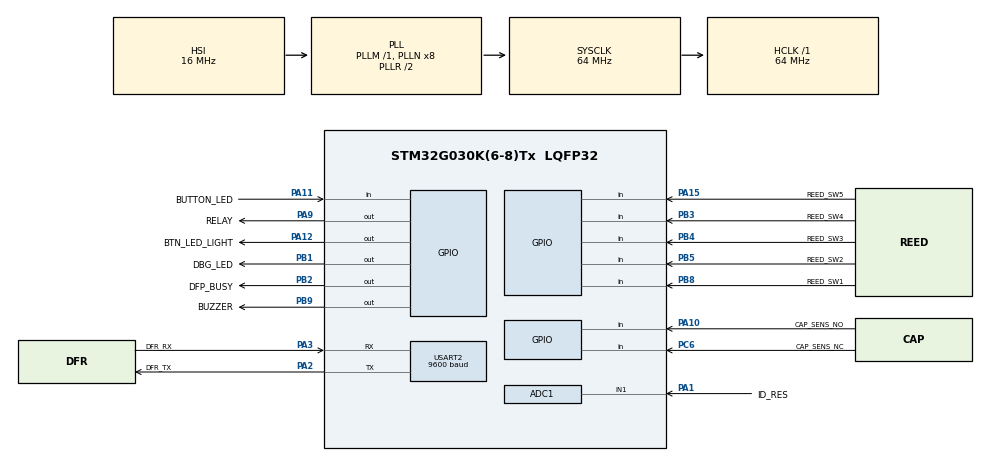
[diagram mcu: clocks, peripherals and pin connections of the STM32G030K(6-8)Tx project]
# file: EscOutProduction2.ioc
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ADC1.Channel-0\#ChannelRegularConversion=ADC_CHANNEL_1
ADC1.NbrOfConversionFlag=1
ADC1.Rank-0\#ChannelRegularConversion=1
ADC1.SamplingTime-0\#ChannelRegularConversion=ADC_SAMPLINGTIME_COMMON_1
ADC1.SamplingTimeCommon1=ADC_SAMPLETIME_160CYCLES_5
ADC1.SelectedChannel=ADC_CHANNEL_1
ADC1.master=1
IWDG.Prescaler=IWDG_PRESCALER_16
Mcu.Family=STM32G0
Mcu.Name=STM32G030K(6-8)Tx
Mcu.Package=LQFP32
NVIC.TIM1_BRK_UP_TRG_COM_IRQn=true\:0\:0\:false\:false\:true\:true\:true\:true
PA1.GPIO_Label=ID_RES
PA1.Mode=IN1
PA1.Signal=ADC1_IN1
PA10.GPIO_Label=CAP_SENS_NO
PA10.Signal=GPIO_Input
PA11\ [PA9].GPIO_Label=BUTTON_LED
PA11\ [PA9].Signal=GPIO_Input
PA12\ [PA10].GPIO_Label=BTN_LED_LIGHT
PA12\ [PA10].Signal=GPIO_Output
PA13.Mode=Serial_Wire
PA13.Signal=SYS_SWDIO
PA14-BOOT0.Mode=Serial_Wire
PA14-BOOT0.Signal=SYS_SWCLK
PA15.GPIO_Label=REED_SW5
PA15.Signal=GPIO_Input
PA2.GPIO_Label=DFR_TX
PA2.Mode=Asynchronous
PA2.Signal=USART2_TX
PA3.GPIO_Label=DFR_RX
PA3.Mode=Asynchronous
PA3.Signal=USART2_RX
PA9.GPIO_Label=RELAY
PA9.Signal=GPIO_Output
PB1.GPIO_Label=DBG_LED
PB1.Signal=GPIO_Output
PB2.GPIO_Label=DFP_BUSY
PB2.Signal=GPIO_Output
PB3.GPIO_Label=REED_SW4
PB3.Signal=GPIO_Input
PB4.GPIO_Label=REED_SW3
PB4.Signal=GPIO_Input
PB5.GPIO_Label=REED_SW2
PB5.Signal=GPIO_Input
PB8.GPIO_Label=REED_SW1
PB8.Signal=GPIO_Input
PB9.GPIO_FM9=SYSCFG_FASTMODEPLUS_PB9
PB9.GPIO_Label=BUZZER
PB9.GPIO_Speed=GPIO_SPEED_FREQ_VERY_HIGH
PB9.Signal=GPIO_Output
PC6.GPIO_Label=CAP_SENS_NC
PC6.Signal=GPIO_Input
ProjectManager.HeapSize=0x200
ProjectManager.StackSize=0x400
ProjectManager.TargetToolchain=STM32CubeIDE
RCC.ADCFreq_Value=64000000
RCC.AHBFreq_Value=64000000
RCC.CortexFreq_Value=64000000
RCC.EXTERNAL_CLOCK_VALUE=12288000
RCC.HCLKFreq_Value=64000000
RCC.HSE_VALUE=8000000
RCC.HSI_VALUE=16000000
RCC.LSE_VALUE=32768
RCC.SYSCLKFreq_VALUE=64000000
RCC.SYSCLKSource=RCC_SYSCLKSOURCE_PLLCLK
RCC.VCOOutputFreq_Value=128000000
TIM1.Period=86
TIM1.Prescaler=152
USART2.BaudRate=9600
USART2.VirtualMode-Asynchronous=VM_ASYNC
VP_IWDG_VS_IWDG.Mode=IWDG_Activate
VP_TIM17_VS_ClockSourceINT.Mode=Enable_Timer
VP_TIM1_VS_ClockSourceINT.Mode=Internal
board=custom

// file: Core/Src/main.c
/* USER CODE BEGIN Header */
/**
  ******************************************************************************
  * @file           : main.c
  * @brief          : Main program body
  ******************************************************************************
  * @attention
  *
  * Copyright (c) 2023 STMicroelectronics.
  * All rights reserved.
  *
  * This software is licensed under terms that can be found in the LICENSE file
  * in the root directory of this software component.
  * If no LICENSE file comes with this software, it is provided AS-IS.
  *
  ******************************************************************************
  */
/* USER CODE END Header */
#include "main.h"
#include "adc.h"
#include "iwdg.h"
#include "tim.h"
#include "usart.h"
#include "gpio.h"

/* USER CODE BEGIN Includes */
#include "application/door.h"
#include "application/button_game.h"
#include "application/metal_ball.h"
#include "application/reed_switch_player.h"
#include "application/board_id.h"
#include "application/watchdog.h"
/* USER CODE END Includes */

/* USER CODE BEGIN PV */
board_id_t board_id = BOARD_NOT_DEFINED;
/* USER CODE END PV */

void SystemClock_Config(void);
/* USER CODE BEGIN PFP */
void DEBUG_LED_Blink(uint8_t blink_times);
/* USER CODE END PFP */

int main(void)
{

  /* MCU Configuration--------------------------------------------------------*/

  /* Reset of all peripherals, Initializes the Flash interface and the Systick. */
  HAL_Init();

  /* Configure the system clock */
  SystemClock_Config();

  /* Initialize all configured peripherals */
  MX_GPIO_Init();
  MX_TIM17_Init();
  MX_USART2_UART_Init();
  MX_TIM1_Init();
  MX_ADC1_Init();
  MX_IWDG_Init();
  /* USER CODE BEGIN 2 */
  __HAL_DBGMCU_FREEZE_IWDG();
  BOARD_ID_Init(&hadc1, ADC_CHANNEL_1);
  board_id = BOARD_ID_GetBoardID();
  if(board_id == BOARD_IS_REED_SWITCH)
  {
	  DEBUG_LED_Blink(1);
	  REED_SW_PLAYER_Init();
  }
  else if(board_id == BOARD_IS_BUTTON_GAME)
  {
	  DEBUG_LED_Blink(2);
	  BUTTON_GAME_Init();
  }
  else if(board_id == BOARD_IS_METAL_BALL)
  {
	  DEBUG_LED_Blink(3);
	  METAL_BALL_Init();
  }
  else
  {
	  DEBUG_LED_Blink(4);
	  Error_Handler();
  }

  /* USER CODE END 2 */

  /* Infinite loop */
  /* USER CODE BEGIN WHILE */
  while (1)
  {
	  DOOR_Process();
	  if(board_id == BOARD_IS_REED_SWITCH)
		  REED_SW_PLAYER_Process();
	  else if(board_id == BOARD_IS_BUTTON_GAME)
		  BUTTON_GAME_Process();
	  else if(board_id == BOARD_IS_METAL_BALL)
		  METAL_BALL_Process();
	  WATCHDOG_Refresh();
    /* USER CODE END WHILE */

  }
}

void SystemClock_Config(void)
{
  RCC_OscInitTypeDef RCC_OscInitStruct = {0};
  RCC_ClkInitTypeDef RCC_ClkInitStruct = {0};

  /** Configure the main internal regulator output voltage
  */
  HAL_PWREx_ControlVoltageScaling(PWR_REGULATOR_VOLTAGE_SCALE1);

  /** Initializes the RCC Oscillators according to the specified parameters
  * in the RCC_OscInitTypeDef structure.
  */
  RCC_OscInitStruct.OscillatorType = RCC_OSCILLATORTYPE_HSI|RCC_OSCILLATORTYPE_LSI;
  RCC_OscInitStruct.HSIState = RCC_HSI_ON;
  RCC_OscInitStruct.HSIDiv = RCC_HSI_DIV1;
  RCC_OscInitStruct.HSICalibrationValue = RCC_HSICALIBRATION_DEFAULT;
  RCC_OscInitStruct.LSIState = RCC_LSI_ON;
  RCC_OscInitStruct.PLL.PLLState = RCC_PLL_ON;
  RCC_OscInitStruct.PLL.PLLSource = RCC_PLLSOURCE_HSI;
  RCC_OscInitStruct.PLL.PLLM = RCC_PLLM_DIV1;
  RCC_OscInitStruct.PLL.PLLN = 8;
  RCC_OscInitStruct.PLL.PLLP = RCC_PLLP_DIV2;
  RCC_OscInitStruct.PLL.PLLR = RCC_PLLR_DIV2;
  if (HAL_RCC_OscConfig(&RCC_OscInitStruct) != HAL_OK)
  {
    Error_Handler();
  }

  /** Initializes the CPU, AHB and APB buses clocks
  */
  RCC_ClkInitStruct.ClockType = RCC_CLOCKTYPE_HCLK|RCC_CLOCKTYPE_SYSCLK
                              |RCC_CLOCKTYPE_PCLK1;
  RCC_ClkInitStruct.SYSCLKSource = RCC_SYSCLKSOURCE_PLLCLK;
  RCC_ClkInitStruct.AHBCLKDivider = RCC_SYSCLK_DIV1;
  RCC_ClkInitStruct.APB1CLKDivider = RCC_HCLK_DIV1;

  if (HAL_RCC_ClockConfig(&RCC_ClkInitStruct, FLASH_LATENCY_2) != HAL_OK)
  {
    Error_Handler();
  }
}

/* USER CODE BEGIN 4 */
void DEBUG_LED_Blink(uint8_t blink_times)
{
	for(uint8_t i=0; i<blink_times*2; i++)
	{
		HAL_GPIO_TogglePin(DBG_LED_GPIO_Port, DBG_LED_Pin);
		HAL_Delay(250);
		WATCHDOG_Refresh();
	}
}
/* USER CODE END 4 */

void Error_Handler(void)
{
  /* USER CODE BEGIN Error_Handler_Debug */
  /* User can add his own implementation to report the HAL error return state */
  __disable_irq();
  while (1)
  {
	  HAL_GPIO_TogglePin(DBG_LED_GPIO_Port, DBG_LED_Pin);
  }
  /* USER CODE END Error_Handler_Debug */
}
